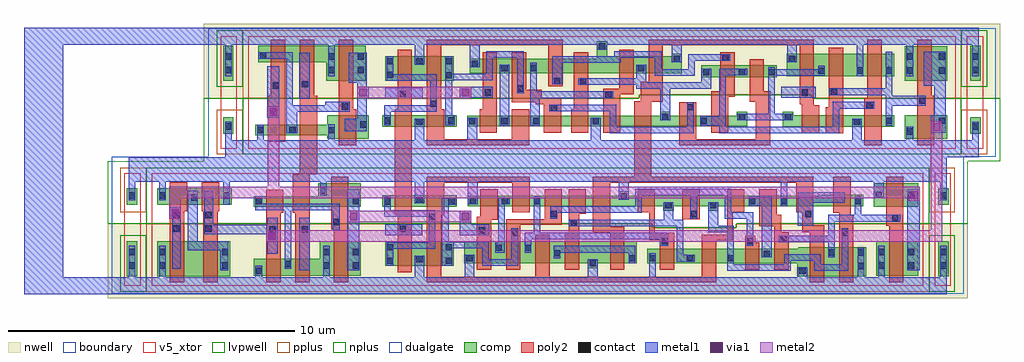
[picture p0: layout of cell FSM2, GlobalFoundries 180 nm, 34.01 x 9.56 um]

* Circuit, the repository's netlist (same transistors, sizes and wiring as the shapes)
* Extracted by KLayout with GF180MCU LVS runset on : 11/08/2026 02:57

.SUBCKT FSM2
M$1 \$4 A1|A2|Q VDD VDD pfet_05v0 L=0.5U W=0.6U AS=0.264P AD=0.156P PS=2.08U
+ PD=1.12U
M$2 VDD MODE \$4 VDD pfet_05v0 L=0.5U W=0.6U AS=0.156P AD=0.40575P PS=1.12U
+ PD=2.055U
M$3 \$5 \$4 VDD VDD pfet_05v0 L=0.5U W=1.215U AS=0.40575P AD=0.5346P PS=2.055U
+ PD=3.31U
M$4 \$16 \$15 VDD VDD pfet_05v0 L=0.5U W=0.505U AS=0.2222P AD=0.2424P PS=1.89U
+ PD=1.465U
M$5 \$9 \$6 \$16 VDD pfet_05v0 L=0.5U W=0.505U AS=0.2424P AD=0.2537625P
+ PS=1.465U PD=1.51U
M$6 \$17 \$7 \$9 VDD pfet_05v0 L=0.5U W=0.505U AS=0.2537625P AD=0.1313P
+ PS=1.51U PD=1.025U
M$7 \$17 \$18 VDD VDD pfet_05v0 L=0.5U W=0.505U AS=0.29465P AD=0.1313P PS=1.74U
+ PD=1.025U
M$8 \$18 RN|SETN VDD VDD pfet_05v0 L=0.5U W=1U AS=0.29465P AD=0.26P PS=1.74U
+ PD=1.52U
M$9 VDD \$9 \$18 VDD pfet_05v0 L=0.5U W=1U AS=0.26P AD=0.44P PS=1.52U PD=2.88U
M$10 \$22 A1|Q|REC_EN VDD VDD pfet_05v0 L=0.5U W=1.22U AS=0.5368P AD=0.4087P
+ PS=3.32U PD=1.89U
M$11 TREAT_EN A1|A2|Q \$22 VDD pfet_05v0 L=0.5U W=1.22U AS=0.4087P AD=0.5368P
+ PS=1.89U PD=3.32U
M$12 VDD CLK \$6 VDD pfet_05v0 L=0.5U W=0.865U AS=0.3806P AD=0.2249P PS=2.61U
+ PD=1.385U
M$13 \$7 \$6 VDD VDD pfet_05v0 L=0.5U W=0.865U AS=0.2249P AD=0.3806P PS=1.385U
+ PD=2.61U
M$14 \$14 \$5 VDD VDD pfet_05v0 L=0.5U W=0.78U AS=0.3432P AD=0.2028P PS=2.44U
+ PD=1.3U
M$15 \$15 \$7 \$14 VDD pfet_05v0 L=0.5U W=0.78U AS=0.2028P AD=0.2028P PS=1.3U
+ PD=1.3U
M$16 \$8 \$6 \$15 VDD pfet_05v0 L=0.5U W=0.78U AS=0.2028P AD=0.2028P PS=1.3U
+ PD=1.3U
M$17 \$8 \$16 VDD VDD pfet_05v0 L=0.5U W=0.78U AS=0.45P AD=0.2028P PS=2.02U
+ PD=1.3U
M$18 \$8 RN|SETN VDD VDD pfet_05v0 L=0.5U W=0.78U AS=0.45P AD=0.3432P PS=2.02U
+ PD=2.44U
M$19 A1|Q|REC_EN \$18 VDD VDD pfet_05v0 L=0.5U W=1.215U AS=0.5346P AD=0.637875P
+ PS=3.31U PD=3.48U
M$20 \$42 \$45 \$49 VDD pfet_05v0 L=0.5U W=0.415U AS=0.27805P AD=0.1079P
+ PS=2.17U PD=0.935U
M$21 \$50 \$47 \$42 VDD pfet_05v0 L=0.5U W=0.415U AS=0.1079P AD=0.1826P
+ PS=0.935U PD=1.71U
M$22 \$46 \$44 VDD VDD pfet_05v0 L=0.5U W=0.505U AS=0.22725P AD=0.1313P
+ PS=1.91U PD=1.025U
M$23 \$48 \$47 \$46 VDD pfet_05v0 L=0.5U W=0.505U AS=0.1313P AD=0.1931625P
+ PS=1.025U PD=1.27U
M$24 \$66 \$45 \$48 VDD pfet_05v0 L=0.5U W=0.505U AS=0.1931625P AD=0.101P
+ PS=1.27U PD=0.905U
M$25 VDD \$49 \$66 VDD pfet_05v0 L=0.5U W=0.505U AS=0.101P AD=0.3975P PS=0.905U
+ PD=2.185U
M$26 \$49 \$48 VDD VDD pfet_05v0 L=0.5U W=0.585U AS=0.3975P AD=0.1521P
+ PS=2.185U PD=1.105U
M$27 VDD RN|SETN \$49 VDD pfet_05v0 L=0.5U W=0.585U AS=0.1521P AD=0.4149P
+ PS=1.105U PD=2.65U
M$28 VDD CLK \$45 VDD pfet_05v0 L=0.5U W=0.865U AS=0.3806P AD=0.2249P PS=2.61U
+ PD=1.385U
M$29 \$47 \$45 VDD VDD pfet_05v0 L=0.5U W=0.865U AS=0.2249P AD=0.3806P
+ PS=1.385U PD=2.61U
M$30 \$50 RN|SETN VDD VDD pfet_05v0 L=0.5U W=0.78U AS=0.3432P AD=0.2028P
+ PS=2.44U PD=1.3U
M$31 VDD \$51 \$50 VDD pfet_05v0 L=0.5U W=0.78U AS=0.2028P AD=0.3276P PS=1.3U
+ PD=1.62U
M$32 \$51 \$42 VDD VDD pfet_05v0 L=0.5U W=0.78U AS=0.3276P AD=0.3432P PS=1.62U
+ PD=2.44U
M$33 A1|A2|Q \$51 VDD VDD pfet_05v0 L=0.5U W=1.215U AS=0.5346P AD=0.6561P
+ PS=3.31U PD=3.51U
M$34 \$63 A1|Q|REC_EN \$43 VDD pfet_05v0 L=0.5U W=0.565U AS=0.2486P AD=0.1469P
+ PS=2.01U PD=1.085U
M$35 \$63 MODE VDD VDD pfet_05v0 L=0.5U W=0.565U AS=0.38705P AD=0.1469P
+ PS=2.08U PD=1.085U
M$36 \$44 \$43 VDD VDD pfet_05v0 L=0.5U W=1.22U AS=0.38705P AD=0.5368P PS=2.08U
+ PD=3.32U
M$37 \$35 A1|A2|Q \$4 VSS nfet_05v0 L=0.6U W=0.365U AS=0.1606P AD=0.0584P
+ PS=1.61U PD=0.685U
M$38 VSS MODE \$35 VSS nfet_05v0 L=0.6U W=0.365U AS=0.0584P AD=0.23405P
+ PS=0.685U PD=1.555U
M$39 \$5 \$4 VSS VSS nfet_05v0 L=0.6U W=0.815U AS=0.23405P AD=0.3586P PS=1.555U
+ PD=2.51U
M$40 \$14 \$5 VSS VSS nfet_05v0 L=0.6U W=0.36U AS=0.1584P AD=0.0936P PS=1.6U
+ PD=0.88U
M$41 \$15 \$6 \$14 VSS nfet_05v0 L=0.6U W=0.36U AS=0.0936P AD=0.0936P PS=0.88U
+ PD=0.88U
M$42 \$38 \$7 \$15 VSS nfet_05v0 L=0.6U W=0.36U AS=0.0936P AD=0.0432P PS=0.88U
+ PD=0.6U
M$43 \$39 \$16 \$38 VSS nfet_05v0 L=0.6U W=0.36U AS=0.0432P AD=0.0432P PS=0.6U
+ PD=0.6U
M$44 VSS RN|SETN \$39 VSS nfet_05v0 L=0.6U W=0.36U AS=0.0432P AD=0.2016P
+ PS=0.6U PD=1.48U
M$45 VSS \$15 \$16 VSS nfet_05v0 L=0.6U W=0.36U AS=0.2007P AD=0.2016P PS=1.475U
+ PD=1.48U
M$46 \$9 \$7 \$16 VSS nfet_05v0 L=0.6U W=0.36U AS=0.2007P AD=0.2007P PS=1.475U
+ PD=1.475U
M$47 \$17 \$6 \$9 VSS nfet_05v0 L=0.6U W=0.36U AS=0.2007P AD=0.0945P PS=1.475U
+ PD=0.885U
M$48 VSS \$18 \$17 VSS nfet_05v0 L=0.6U W=0.36U AS=0.0945P AD=0.1224P PS=0.885U
+ PD=1.04U
M$49 \$41 RN|SETN VSS VSS nfet_05v0 L=0.6U W=0.36U AS=0.1224P AD=0.134P
+ PS=1.04U PD=1.1U
M$50 \$18 \$9 \$41 VSS nfet_05v0 L=0.6U W=0.4U AS=0.134P AD=0.176P PS=1.1U
+ PD=1.68U
M$51 VSS CLK \$6 VSS nfet_05v0 L=0.6U W=0.405U AS=0.1782P AD=0.1053P PS=1.69U
+ PD=0.925U
M$52 \$7 \$6 VSS VSS nfet_05v0 L=0.6U W=0.405U AS=0.1053P AD=0.1782P PS=0.925U
+ PD=1.69U
M$53 TREAT_EN A1|Q|REC_EN VSS VSS nfet_05v0 L=0.6U W=0.565U AS=0.2486P
+ AD=0.1469P PS=2.01U PD=1.085U
M$54 VSS A1|A2|Q TREAT_EN VSS nfet_05v0 L=0.6U W=0.565U AS=0.1469P AD=0.2486P
+ PS=1.085U PD=2.01U
M$55 A1|Q|REC_EN \$18 VSS VSS nfet_05v0 L=0.6U W=0.815U AS=0.3586P AD=0.427875P
+ PS=2.51U PD=2.68U
M$56 \$43 A1|Q|REC_EN VSS VSS nfet_05v0 L=0.6U W=0.36U AS=0.1584P AD=0.0936P
+ PS=1.6U PD=0.88U
M$57 \$43 MODE VSS VSS nfet_05v0 L=0.6U W=0.36U AS=0.2288P AD=0.0936P PS=1.58U
+ PD=0.88U
M$58 \$44 \$43 VSS VSS nfet_05v0 L=0.6U W=0.82U AS=0.2288P AD=0.3608P PS=1.58U
+ PD=2.52U
M$59 \$46 \$44 VSS VSS nfet_05v0 L=0.6U W=0.36U AS=0.1584P AD=0.0936P PS=1.6U
+ PD=0.88U
M$60 \$48 \$45 \$46 VSS nfet_05v0 L=0.6U W=0.36U AS=0.0936P AD=0.0936P PS=0.88U
+ PD=0.88U
M$61 \$61 \$47 \$48 VSS nfet_05v0 L=0.6U W=0.36U AS=0.0936P AD=0.0621P PS=0.88U
+ PD=0.705U
M$62 VSS \$49 \$61 VSS nfet_05v0 L=0.6U W=0.36U AS=0.0621P AD=0.0936P PS=0.705U
+ PD=0.88U
M$63 \$59 \$48 VSS VSS nfet_05v0 L=0.6U W=0.36U AS=0.0936P AD=0.0864P PS=0.88U
+ PD=0.84U
M$64 \$49 RN|SETN \$59 VSS nfet_05v0 L=0.6U W=0.36U AS=0.0864P AD=0.1989P
+ PS=0.84U PD=1.465U
M$65 \$42 \$47 \$49 VSS nfet_05v0 L=0.6U W=0.36U AS=0.1989P AD=0.0936P
+ PS=1.465U PD=0.88U
M$66 \$50 \$45 \$42 VSS nfet_05v0 L=0.6U W=0.36U AS=0.0936P AD=0.2898P PS=0.88U
+ PD=2.33U
M$67 VSS CLK \$45 VSS nfet_05v0 L=0.6U W=0.405U AS=0.1782P AD=0.1053P PS=1.69U
+ PD=0.925U
M$68 \$47 \$45 VSS VSS nfet_05v0 L=0.6U W=0.405U AS=0.1053P AD=0.1782P
+ PS=0.925U PD=1.69U
M$69 \$58 RN|SETN \$50 VSS nfet_05v0 L=0.6U W=0.405U AS=0.3123P AD=0.0486P
+ PS=2.38U PD=0.645U
M$70 VSS \$51 \$58 VSS nfet_05v0 L=0.6U W=0.405U AS=0.0486P AD=0.14985P
+ PS=0.645U PD=1.145U
M$71 \$51 \$42 VSS VSS nfet_05v0 L=0.6U W=0.405U AS=0.14985P AD=0.1782P
+ PS=1.145U PD=1.69U
M$72 A1|A2|Q \$51 VSS VSS nfet_05v0 L=0.6U W=0.815U AS=0.3586P AD=0.3586P
+ PS=2.51U PD=2.51U
.ENDS FSM2

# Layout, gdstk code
from math import pi, radians
import gdstk
lib = gdstk.Library(unit=1e-6, precision=1e-09)
def R(c, l, rs):  # rectangles x0, y0, x1, y1
    for r in rs: c.add(gdstk.rectangle(r[:2], r[2:], *l))
def A(c, l, x, y, w, h, nx, ny, dx, dy):  # array of equal rectangles
    R(c, l, [(x+i*dx, y+j*dy, x+i*dx+w, y+j*dy+h) for i in range(nx) for j in range(ny)])
def P(c, l, *ps):  # polygons
    for p in ps: c.add(gdstk.Polygon(p, *l))
boundary = (0, 0)
nwell = (21, 0)
comp = (22, 0)
poly2 = (30, 0)
pplus = (31, 0)
nplus = (32, 0)
contact = (33, 0)
metal1 = (34, 0)
via1 = (35, 0)
metal2 = (36, 0)
dualgate = (55, 0)
v5_xtor = (112, 1)
lvpwell = (204, 0)

and2 = lib.new_cell('and2')
R(and2, boundary, [(16.65,1.915,21.13,5.835)])
R(and2, nwell, [(16.22,1.485,21.56,4.075)])
P(and2, comp, [(16.83,4.675),(16.83,5.04),(19.09,5.04),(19.09,5.49),(20.57,5.49),(20.57,4.675)],
  [(16.83,2.26),(16.83,2.86),(19.13,2.86),(19.13,3.475),(20.57,3.475),(20.57,2.26)])
P(and2, poly2, [(17.27,2.035),(17.27,5.26),(17.87,5.26),(17.87,4.455),(17.77,4.455),(17.77,2.035)],
  [(18.29,2.035),(18.29,4.455),(18.19,4.455),(18.19,5.26),(18.79,5.26),(18.79,2.035)],
  [(19.63,2.035),(19.63,3.89),(19.53,3.89),(19.53,5.715),(20.13,5.715),(20.13,2.035)])
R(and2, pplus, [(16.45,1.715,21.33,4.075)])
R(and2, nplus, [(16.45,4.075,21.33,6.035)])
R(and2, contact, [(16.9,2.33,17.12,2.55), (19.26,2.515,19.48,2.735), (20.28,2.515,20.5,2.735), (17.92,2.57,18.14,2.79), (19.26,2.985,19.48,3.205), (20.28,2.985,20.5,3.205), (17.38,3.765,17.6,3.985), (18.5,3.765,18.72,3.985), (19.6,4.03,19.82,4.25), (16.9,4.75,17.12,4.97), (20.28,4.75,20.5,4.97), (19.16,5.13,19.38,5.35)])
R(and2, metal1, [(20.1,2.455,20.52,5.28), (18.43,2.465,18.79,4.295), (17.31,3.025,17.67,4.295)])
P(and2, metal1, [(19.155,5.07),(19.155,5.535),(16.65,5.535),(16.65,6.395),(21.13,6.395),(21.13,5.535),(19.385,5.535),(19.385,5.07)],
  [(17.915,2.51),(17.915,4.545),(16.895,4.545),(16.895,5.03),(17.125,5.03),(17.125,4.78),(19.825,4.78),(19.825,3.85),(19.595,3.85),(19.595,4.545),(18.145,4.545),(18.145,2.51)],
  [(16.65,1.615),(16.65,2.215),(16.895,2.215),(16.895,2.61),(17.125,2.61),(17.125,2.215),(19.255,2.215),(19.255,3.305),(19.485,3.305),(19.485,2.215),(21.13,2.215),(21.13,1.615)])
R(and2, dualgate, [(16.37,1.635,21.41,6.415)])
R(and2, v5_xtor, [(16.65,1.915,21.13,5.835)])
R(and2, lvpwell, [(16.22,4.075,21.56,6.265)])
and2.add(gdstk.Label('& Vendor GLOBALFOUNDRIES', (16.65,3.835), layer=63, texttype=63))
and2.add(gdstk.Label('& Product GF018hv5v_mcu_sc7', (16.65,4.335), layer=63, texttype=63))
and2.add(gdstk.Label('& Version 2015q2v1', (16.65,4.835), layer=63, texttype=63))
and2.add(gdstk.Label('& Metric 1.00', (16.65,5.335), layer=63, texttype=63))
and2.add(gdstk.Label('A1', (17.49,3.875), layer=34, texttype=10))
and2.add(gdstk.Label('VNW', (16.995,1.915), layer=21, texttype=10))
and2.add(gdstk.Label('VPW', (16.99,5.92), layer=204, texttype=10))

dffrnq = lib.new_cell('dffrnq')
R(dffrnq, boundary, [(0.01,-11.29,19.05,-7.37)])
P(dffrnq, nwell, [(-0.42,-11.72),(-0.42,-9.13),(9.61,-9.13),(9.61,-9.265),(12.525,-9.265),(12.525,-9.13),(19.48,-9.13),(19.48,-11.72)])
R(dffrnq, comp, [(17.415,-10.945,18.88,-9.73), (0.29,-10.595,2.69,-9.73), (0.19,-8.53,2.79,-8.125), (17.315,-8.53,18.88,-7.715)])
P(dffrnq, comp, [(14.655,-10.95),(14.655,-10.51),(9.43,-10.51),(9.43,-10.005),(14.695,-10.005),(14.695,-9.95),(17.055,-9.95),(17.055,-10.95)],
  [(9.99,-8.665),(9.99,-8.51),(3.17,-8.51),(3.17,-8.15),(8.43,-8.15),(8.43,-7.99),(8.79,-7.99),(8.79,-8.15),(15.515,-8.15),(15.515,-8.11),(16.955,-8.11),(16.955,-8.51),(11.91,-8.51),(11.91,-8.665),(11.55,-8.665),(11.55,-8.51),(10.35,-8.51),(10.35,-8.665)],
  [(7.35,-10.67),(7.35,-10.51),(3.05,-10.51),(3.05,-9.73),(9.07,-9.73),(9.07,-10.51),(7.71,-10.51),(7.71,-10.67)])
R(dffrnq, poly2, [(10.65,-8.97,11.25,-7.93)])
P(dffrnq, poly2, [(17.855,-11.17),(17.855,-9.19),(17.755,-9.19),(17.755,-7.49),(18.355,-7.49),(18.355,-11.17)],
  [(16.115,-11.17),(16.115,-8.75),(15.915,-8.75),(15.915,-7.49),(16.515,-7.49),(16.515,-8.83),(16.615,-8.83),(16.615,-11.17)],
  [(15.095,-11.17),(15.095,-9.43),(14.835,-9.43),(14.835,-8.73),(14.615,-8.73),(14.615,-7.69),(8.13,-7.69),(8.13,-9.23),(8.63,-9.23),(8.63,-10.73),(8.13,-10.73),(8.13,-9.43),(7.53,-9.43),(7.53,-7.49),(15.215,-7.49),(15.215,-9.175),(15.595,-9.175),(15.595,-11.17)],
  [(13.855,-10.73),(13.855,-9.21),(13.335,-9.21),(13.335,-7.93),(13.935,-7.93),(13.935,-8.81),(14.095,-8.81),(14.095,-9.43),(14.355,-9.43),(14.355,-10.73)],
  [(12.835,-10.73),(12.835,-9.545),(13.195,-9.545),(13.195,-9.785),(13.335,-9.785),(13.335,-10.73)],
  [(1.75,-11.17),(1.75,-7.49),(5.33,-7.49),(5.33,-8.73),(4.73,-8.73),(4.73,-7.69),(2.35,-7.69),(2.35,-8.81),(2.25,-8.81),(2.25,-10.97),(5.53,-10.97),(5.53,-9.51),(6.03,-9.51),(6.03,-10.97),(11.33,-10.97),(11.33,-9.505),(12.21,-9.505),(12.21,-7.93),(12.81,-7.93),(12.81,-8.73),(12.41,-8.73),(12.41,-9.705),(11.83,-9.705),(11.83,-11.17)],
  [(9.87,-10.73),(9.87,-9.705),(9.49,-9.705),(9.49,-8.73),(9.09,-8.73),(9.09,-7.93),(9.69,-7.93),(9.69,-9.44),(10.37,-9.44),(10.37,-10.73)],
  [(6.55,-10.73),(6.55,-9.485),(6.69,-9.485),(6.69,-7.93),(7.29,-7.93),(7.29,-8.77),(7.05,-8.77),(7.05,-10.73)],
  [(4.51,-10.73),(4.51,-8.97),(5.85,-8.97),(5.85,-7.93),(6.45,-7.93),(6.45,-9.17),(5.01,-9.17),(5.01,-10.73)],
  [(3.49,-10.73),(3.49,-8.88),(3.61,-8.88),(3.61,-7.93),(4.21,-7.93),(4.21,-8.98),(3.99,-8.98),(3.99,-10.73)],
  [(0.73,-10.82),(0.73,-8.81),(0.63,-8.81),(0.63,-7.905),(1.23,-7.905),(1.23,-10.82)])
P(dffrnq, pplus, [(-0.19,-11.49),(-0.19,-9.13),(9.61,-9.13),(9.61,-9.265),(12.525,-9.265),(12.525,-9.13),(19.25,-9.13),(19.25,-11.49)])
P(dffrnq, nplus, [(9.61,-9.265),(9.61,-9.13),(-0.19,-9.13),(-0.19,-7.17),(19.25,-7.17),(19.25,-9.13),(12.525,-9.13),(12.525,-9.265)])
A(dffrnq, contact, 3.24, -8.44, 0.22, 0.22, 3, 1, 1.12, 0)
R(dffrnq, contact, [(14.725,-10.875,14.945,-10.655), (16.765,-10.71,16.985,-10.49), (17.485,-10.69,17.705,-10.47), (18.505,-10.69,18.725,-10.47), (7.42,-10.6,7.64,-10.38), (0.36,-10.525,0.58,-10.305), (2.4,-10.525,2.62,-10.305), (1.38,-10.46,1.6,-10.24), (3.12,-10.44,3.34,-10.22), (8.78,-10.44,9,-10.22), (9.5,-10.44,9.72,-10.22), (10.81,-10.44,11.03,-10.22), (12.225,-10.44,12.445,-10.22), (13.485,-10.295,13.705,-10.075), (6.18,-10.265,6.4,-10.045), (15.745,-10.24,15.965,-10.02), (16.765,-10.24,16.985,-10.02), (17.485,-10.22,17.705,-10), (18.505,-10.22,18.725,-10), (4.14,-10.07,4.36,-9.85), (5.16,-10.07,5.38,-9.85), (0.36,-10.055,0.58,-9.835), (2.4,-10.055,2.62,-9.835), (9.94,-9.835,10.16,-9.615), (12.905,-9.835,13.125,-9.615), (14.065,-9.77,14.285,-9.55), (4.7,-9.56,4.92,-9.34), (16.205,-9.56,16.425,-9.34), (3.56,-9.475,3.78,-9.255), (0.8,-9.425,1.02,-9.205), (6.76,-9.205,6.98,-8.985), (17.96,-9.045,18.18,-8.825), (1.82,-8.995,2.04,-8.775), (6.06,-8.9,6.28,-8.68), (10.94,-8.9,11.16,-8.68), (14.925,-8.9,15.145,-8.68), (10.06,-8.595,10.28,-8.375), (11.62,-8.595,11.84,-8.375), (0.26,-8.46,0.48,-8.24), (2.5,-8.46,2.72,-8.24), (12.965,-8.44,13.185,-8.22), (14.085,-8.44,14.305,-8.22), (16.665,-8.44,16.885,-8.22), (1.38,-8.415,1.6,-8.195), (8.5,-8.28,8.72,-8.06), (17.385,-8.24,17.605,-8.02), (18.505,-8.24,18.725,-8.02)])
R(dffrnq, metal1, [(18.485,-10.75,18.92,-7.92), (0.29,-9.52,1.58,-9.14), (2.9,-9.52,3.93,-9.14)])
P(dffrnq, metal1, [(14.08,-8.5),(14.08,-7.67),(8.78,-7.67),(8.78,-8.285),(8.44,-8.285),(8.44,-7.67),(3.52,-7.67),(3.52,-8.445),(3.18,-8.445),(3.18,-7.67),(1.665,-7.67),(1.665,-8.42),(1.32,-8.42),(1.32,-7.67),(0.01,-7.67),(0.01,-6.81),(19.05,-6.81),(19.05,-7.67),(17.665,-7.67),(17.665,-8.245),(17.325,-8.245),(17.325,-7.67),(14.31,-7.67),(14.31,-8.5)],
  [(0.01,-11.59),(0.01,-10.99),(1.32,-10.99),(1.32,-10.235),(1.66,-10.235),(1.66,-10.99),(3.06,-10.99),(3.06,-10.215),(3.4,-10.215),(3.4,-10.99),(7.36,-10.99),(7.36,-10.36),(7.7,-10.36),(7.7,-10.99),(9.495,-10.99),(9.495,-10.16),(9.725,-10.16),(9.725,-10.99),(14.665,-10.99),(14.665,-10.65),(15.005,-10.65),(15.005,-10.99),(16.76,-10.99),(16.76,-9.96),(16.99,-9.96),(16.99,-10.99),(17.48,-10.99),(17.48,-9.9),(17.71,-9.9),(17.71,-10.99),(19.05,-10.99),(19.05,-11.59)],
  [(15.74,-10.3),(15.74,-9.775),(14.005,-9.775),(14.005,-9.545),(15.74,-9.545),(15.74,-8.82),(16.66,-8.82),(16.66,-8.16),(16.89,-8.16),(16.89,-8.82),(18.24,-8.82),(18.24,-9.05),(15.97,-9.05),(15.97,-10.3)],
  [(12.22,-10.76),(12.22,-9.42),(11.56,-9.42),(11.56,-8.37),(11.9,-8.37),(11.9,-9.19),(12.45,-9.19),(12.45,-10.53),(14.205,-10.53),(14.205,-10.19),(15.475,-10.19),(15.475,-10.53),(16.2,-10.53),(16.2,-9.28),(16.43,-9.28),(16.43,-10.76),(15.245,-10.76),(15.245,-10.42),(14.435,-10.42),(14.435,-10.76)],
  [(14.67,-9.2),(14.67,-8.03),(16.305,-8.03),(16.305,-8.39),(15.215,-8.39),(15.215,-9.2)],
  [(13.425,-10.3),(13.425,-8.5),(12.96,-8.5),(12.96,-8.16),(13.765,-8.16),(13.765,-10.3)],
  [(12.9,-9.895),(12.9,-8.96),(12.13,-8.96),(12.13,-8.13),(11.165,-8.13),(11.165,-8.96),(10.935,-8.96),(10.935,-8.13),(9.24,-8.13),(9.24,-8.75),(6.285,-8.75),(6.285,-8.96),(6.055,-8.96),(6.055,-8.52),(9.01,-8.52),(9.01,-7.9),(12.36,-7.9),(12.36,-8.73),(13.13,-8.73),(13.13,-9.895)],
  [(10.45,-10.445),(10.45,-9.21),(6.7,-9.21),(6.7,-8.98),(10,-8.98),(10,-8.37),(10.34,-8.37),(10.34,-8.98),(10.68,-8.98),(10.68,-10.215),(11.09,-10.215),(11.09,-10.445)],
  [(5.155,-10.13),(5.155,-9.44),(5.475,-9.44),(5.475,-8.16),(5.705,-8.16),(5.705,-9.44),(10.165,-9.44),(10.165,-9.895),(9.865,-9.895),(9.865,-9.67),(5.385,-9.67),(5.385,-10.13)],
  [(8.775,-10.5),(8.775,-10.13),(6.405,-10.13),(6.405,-10.325),(6.175,-10.325),(6.175,-9.9),(9.005,-9.9),(9.005,-10.5)],
  [(3.675,-10.59),(3.675,-9.985),(2.625,-9.985),(2.625,-10.585),(2.275,-10.585),(2.275,-8.235),(2.78,-8.235),(2.78,-8.465),(2.505,-8.465),(2.505,-9.755),(3.905,-9.755),(3.905,-10.36),(4.695,-10.36),(4.695,-9.28),(4.925,-9.28),(4.925,-10.59)],
  [(4.135,-10.13),(4.135,-9.79),(4.235,-9.79),(4.235,-8.215),(4.64,-8.215),(4.64,-8.445),(4.465,-8.445),(4.465,-10.13)],
  [(0.355,-10.595),(0.355,-9.775),(1.815,-9.775),(1.815,-8.88),(0.255,-8.88),(0.255,-8.18),(0.485,-8.18),(0.485,-8.65),(2.045,-8.65),(2.045,-10.005),(0.585,-10.005),(0.585,-10.595)])
R(dffrnq, dualgate, [(-0.27,-11.57,19.33,-6.79)])
R(dffrnq, v5_xtor, [(0.01,-11.29,19.05,-7.37)])
P(dffrnq, lvpwell, [(9.61,-9.265),(9.61,-9.13),(-0.42,-9.13),(-0.42,-6.94),(19.48,-6.94),(19.48,-9.13),(12.525,-9.13),(12.525,-9.265)])
dffrnq.add(gdstk.Label('& Metric 1.00', (0.01,-7.87), layer=63, texttype=63))
dffrnq.add(gdstk.Label('& Version 2015q2v1', (0.01,-8.37), layer=63, texttype=63))
dffrnq.add(gdstk.Label('& Product GF018hv5v_mcu_sc7', (0.01,-8.87), layer=63, texttype=63))
dffrnq.add(gdstk.Label('& Vendor GLOBALFOUNDRIES', (0.01,-9.37), layer=63, texttype=63))
dffrnq.add(gdstk.Label('RN', (15.41,-8.21), layer=34, texttype=10))
dffrnq.add(gdstk.Label('Q', (18.77,-9.33), layer=34, texttype=10))
dffrnq.add(gdstk.Label('CLK', (0.85,-9.33), layer=34, texttype=10))
dffrnq.add(gdstk.Label('VNW', (0.355,-11.29), layer=21, texttype=10))
dffrnq.add(gdstk.Label('VPW', (0.35,-7.285), layer=204, texttype=10))

dffsnq = lib.new_cell('dffsnq')
R(dffsnq, boundary, [(0.695,0.63,20.855,4.55)])
P(dffsnq, nwell, [(0.265,2.39),(0.265,4.98),(21.285,4.98),(21.285,2.39),(15.86,2.39),(15.86,2.515),(9.83,2.515),(9.83,2.39)])
R(dffsnq, comp, [(19.08,0.975,20.56,1.79), (0.875,1.385,3.475,1.79), (0.975,2.99,3.375,3.855), (19.08,2.99,20.56,4.205), (11.99,3.115,14.62,3.53), (14.98,3.15,18.72,3.93)])
P(dffsnq, comp, [(14.84,1.385),(14.84,1.915),(15.2,1.915),(15.2,1.79),(18.72,1.79),(18.72,1.385)],
  [(3.835,1.41),(3.835,1.77),(10.56,1.77),(10.56,1.915),(10.92,1.915),(10.92,1.77),(13.24,1.77),(13.24,1.915),(13.6,1.915),(13.6,1.41)],
  [(3.925,3.265),(3.925,3.77),(8.36,3.77),(8.36,4.37),(8.72,4.37),(8.72,3.85),(10.96,3.85),(10.96,3.93),(11.32,3.93),(11.32,3.265)])
P(dffsnq, poly2, [(19.52,0.75),(19.52,4.43),(20.02,4.43),(20.02,2.48),(20.12,2.48),(20.12,0.75)],
  [(17.68,0.75),(17.68,2.385),(17.78,2.385),(17.78,4.43),(18.28,4.43),(18.28,0.75)],
  [(16.34,1.165),(16.34,2.07),(16.44,2.07),(16.44,4.15),(16.94,4.15),(16.94,1.165)],
  [(15.5,1.165),(15.5,2.185),(15.42,2.185),(15.42,4.23),(10.66,4.23),(10.66,2.265),(10.26,2.265),(10.26,1.19),(9.66,1.19),(9.66,2.285),(9.88,2.285),(9.88,2.965),(10.16,2.965),(10.16,4.43),(15.92,4.43),(15.92,2.135),(16.1,2.135),(16.1,1.165)],
  [(11.22,0.75),(11.22,2.25),(11.82,2.25),(11.82,0.95),(13.9,0.95),(13.9,2.265),(13.68,2.265),(13.68,3.75),(14.18,3.75),(14.18,2.635),(14.4,2.635),(14.4,0.75)],
  [(12.34,1.19),(12.34,2.635),(12.66,2.635),(12.66,3.99),(13.16,3.99),(13.16,2.435),(12.94,2.435),(12.94,1.19)],
  [(8.58,1.19),(8.58,2.725),(9.14,2.725),(9.14,4.07),(9.64,4.07),(9.64,2.525),(9.18,2.525),(9.18,1.19)],
  [(7.46,1.19),(7.46,2.01),(7.56,2.01),(7.56,3.99),(8.06,3.99),(8.06,1.19)],
  [(2.435,0.75),(2.435,4.43),(7.16,4.43),(7.16,2.805),(6.66,2.805),(6.66,4.23),(2.935,4.23),(2.935,2.01),(3.035,2.01),(3.035,0.95),(5.395,0.95),(5.395,2.01),(5.995,2.01),(5.995,0.75)],
  [(6.515,1.19),(6.515,2.185),(6.23,2.185),(6.23,2.25),(5.395,2.25),(5.395,3.99),(5.895,3.99),(5.895,2.68),(6.43,2.68),(6.43,2.385),(7.115,2.385),(7.115,1.19)],
  [(4.275,1.19),(4.275,2.01),(4.375,2.01),(4.375,3.99),(4.875,3.99),(4.875,1.19)],
  [(1.315,1.165),(1.315,2.01),(1.415,2.01),(1.415,4.08),(1.915,4.08),(1.915,1.165)])
P(dffsnq, pplus, [(0.495,2.39),(0.495,4.75),(21.055,4.75),(21.055,2.39),(15.86,2.39),(15.86,2.515),(9.83,2.515),(9.83,2.39)])
P(dffsnq, nplus, [(0.495,0.43),(0.495,2.39),(9.83,2.39),(9.83,2.515),(15.86,2.515),(15.86,2.39),(21.055,2.39),(21.055,0.43)])
A(dffsnq, contact, 3.905, 1.48, 0.22, 0.22, 3, 1, 1.12, 0)
A(dffsnq, contact, 1.045, 3.565, 0.22, 0.22, 3, 1, 1.02, 0)
R(dffsnq, contact, [(19.15,1.115,19.37,1.335), (2.065,1.455,2.285,1.675), (17.31,1.455,17.53,1.675), (8.21,1.48,8.43,1.7), (11.97,1.48,12.19,1.7), (18.43,1.495,18.65,1.715), (20.27,1.495,20.49,1.715), (0.945,1.5,1.165,1.72), (3.185,1.5,3.405,1.72), (10.63,1.625,10.85,1.845), (13.31,1.625,13.53,1.845), (14.91,1.625,15.13,1.845), (6.755,1.94,6.975,2.16), (11.51,1.96,11.73,2.18), (17.75,2.035,17.97,2.255), (2.56,2.085,2.78,2.305), (19.59,2.19,19.81,2.41), (8.65,2.4,8.87,2.62), (1.485,2.435,1.705,2.655), (4.445,2.48,4.665,2.7), (15.49,2.48,15.71,2.7), (16.51,2.5,16.73,2.72), (5.585,2.62,5.805,2.84), (7.77,2.86,7.99,3.08), (6.87,2.875,7.09,3.095), (3.085,3.075,3.305,3.295), (1.045,3.095,1.265,3.315), (12.06,3.185,12.28,3.405), (13.31,3.185,13.53,3.405), (14.33,3.185,14.55,3.405), (16.07,3.235,16.29,3.455), (17.41,3.24,17.63,3.46), (18.43,3.24,18.65,3.46), (19.15,3.24,19.37,3.46), (20.27,3.24,20.49,3.46), (5.025,3.335,5.245,3.555), (6.045,3.335,6.265,3.555), (9.79,3.335,10.01,3.555), (3.995,3.48,4.215,3.7), (11.03,3.64,11.25,3.86), (15.05,3.64,15.27,3.86), (12.73,3.7,12.95,3.92), (19.15,3.73,19.37,3.95), (20.27,3.73,20.49,3.95), (8.43,4.08,8.65,4.3)])
R(dffsnq, metal1, [(4.965,1.42,5.305,3.56), (0.975,2.395,2.285,2.76), (3.585,2.4,4.725,2.78), (14.785,2.4,15.98,2.78)])
P(dffsnq, metal1, [(17.405,3.16),(17.405,4.25),(15.33,4.25),(15.33,3.635),(14.99,3.635),(14.99,4.25),(11.31,4.25),(11.31,3.635),(10.97,3.635),(10.97,4.25),(8.71,4.25),(8.71,4.075),(8.37,4.075),(8.37,4.25),(4.275,4.25),(4.275,3.475),(3.935,3.475),(3.935,4.25),(2.345,4.25),(2.345,3.56),(2.005,3.56),(2.005,4.25),(0.695,4.25),(0.695,4.85),(20.855,4.85),(20.855,4.25),(19.375,4.25),(19.375,3.16),(19.145,3.16),(19.145,4.25),(17.635,4.25),(17.635,3.16)],
  [(0.695,0.33),(0.695,0.93),(2.005,0.93),(2.005,1.68),(2.345,1.68),(2.345,0.93),(3.845,0.93),(3.845,1.705),(4.185,1.705),(4.185,0.93),(8.15,0.93),(8.15,1.705),(8.49,1.705),(8.49,0.93),(17.25,0.93),(17.25,1.68),(17.59,1.68),(17.59,0.93),(19.145,0.93),(19.145,1.395),(19.375,1.395),(19.375,0.93),(20.855,0.93),(20.855,0.33)],
  [(19.995,1.18),(19.995,1.79),(20.12,1.79),(20.12,2.82),(19.74,2.82),(19.74,4.01),(20.51,4.01),(20.51,1.18)],
  [(18.425,1.435),(18.425,2.49),(16.45,2.49),(16.45,2.735),(18.425,2.735),(18.425,4.01),(18.655,4.01),(18.655,2.47),(19.815,2.47),(19.815,2.13),(18.655,2.13),(18.655,1.435)],
  [(12.625,1.16),(12.625,1.42),(11.965,1.42),(11.965,1.76),(12.625,1.76),(12.625,3.41),(13.59,3.41),(13.59,3.18),(12.855,3.18),(12.855,1.39),(16.575,1.39),(16.575,2.26),(18.03,2.26),(18.03,2.025),(16.805,2.025),(16.805,1.16)],
  [(13.25,1.62),(13.25,1.85),(14.325,1.85),(14.325,3.475),(14.555,3.475),(14.555,3.405),(16.065,3.405),(16.065,3.515),(16.295,3.515),(16.295,3.17),(14.555,3.17),(14.555,1.85),(15.19,1.85),(15.19,1.62)],
  [(6.81,2.87),(6.81,3.845),(8.965,3.845),(8.965,4.02),(10.61,4.02),(10.61,3.405),(11.54,3.405),(11.54,3.925),(13.01,3.925),(13.01,3.695),(11.77,3.695),(11.77,3.17),(10.38,3.17),(10.38,3.79),(9.195,3.79),(9.195,3.615),(7.15,3.615),(7.15,2.87)],
  [(10.57,1.62),(10.57,2.71),(9.73,2.71),(9.73,2.855),(7.71,2.855),(7.71,3.085),(9.73,3.085),(9.73,3.56),(10.07,3.56),(10.07,2.94),(12,2.94),(12,3.41),(12.34,3.41),(12.34,2.71),(10.91,2.71),(10.91,1.62)],
  [(8.805,1.16),(8.805,1.935),(6.695,1.935),(6.695,2.165),(9.035,2.165),(9.035,1.39),(11.505,1.39),(11.505,2.245),(11.735,2.245),(11.735,1.16)],
  [(6.04,1.42),(6.04,3.615),(6.27,3.615),(6.27,2.625),(8.93,2.625),(8.93,2.395),(6.37,2.395),(6.37,1.42)],
  [(3.08,1.44),(3.08,3.855),(3.31,3.855),(3.31,3.245),(4.505,3.245),(4.505,4.02),(5.81,4.02),(5.81,2.56),(5.58,2.56),(5.58,3.79),(4.735,3.79),(4.735,3.01),(3.315,3.01),(3.315,1.78),(3.41,1.78),(3.41,1.44)],
  [(0.94,1.44),(0.94,2.14),(2.555,2.14),(2.555,2.99),(1.04,2.99),(1.04,3.855),(1.27,3.855),(1.27,3.225),(2.785,3.225),(2.785,1.91),(1.17,1.91),(1.17,1.44)])
R(dffsnq, dualgate, [(0.415,0.35,21.135,4.83)])
R(dffsnq, v5_xtor, [(0.695,0.63,20.855,4.55)])
P(dffsnq, lvpwell, [(0.265,0.2),(0.265,2.39),(9.83,2.39),(9.83,2.515),(15.86,2.515),(15.86,2.39),(21.285,2.39),(21.285,0.2)])
dffsnq.add(gdstk.Label('& Metric 1.00', (0.695,1.13), layer=63, texttype=63))
dffsnq.add(gdstk.Label('& Version 2015q2v1', (0.695,1.63), layer=63, texttype=63))
dffsnq.add(gdstk.Label('& Product GF018hv5v_mcu_sc7', (0.695,2.13), layer=63, texttype=63))
dffsnq.add(gdstk.Label('& Vendor GLOBALFOUNDRIES', (0.695,2.63), layer=63, texttype=63))
dffsnq.add(gdstk.Label('SETN', (15.535,2.59), layer=34, texttype=10))
dffsnq.add(gdstk.Label('Q', (20.015,3.15), layer=34, texttype=10))
dffsnq.add(gdstk.Label('CLK', (1.535,2.59), layer=34, texttype=10))
dffsnq.add(gdstk.Label('VNW', (1.04,4.55), layer=21, texttype=10))
dffsnq.add(gdstk.Label('VPW', (1.035,0.545), layer=204, texttype=10))

or2 = lib.new_cell('or2')
R(or2, boundary, [(-2.86,-11.28,1.62,-7.36)])
R(or2, nwell, [(-3.29,-9.52,2.05,-6.93)])
P(or2, comp, [(-0.105,-10.94),(-0.105,-10.815),(-2.625,-10.815),(-2.625,-10.455),(-0.105,-10.455),(-0.105,-10.12),(1.335,-10.12),(1.335,-10.94)],
  [(-0.145,-8.92),(-0.145,-8.265),(-2.525,-8.265),(-2.525,-7.7),(1.235,-7.7),(1.235,-8.92)])
P(or2, poly2, [(0.295,-11.16),(0.295,-7.48),(0.795,-7.48),(0.795,-9.9),(0.895,-9.9),(0.895,-11.16)],
  [(-1.065,-11.04),(-1.065,-7.48),(-0.565,-7.48),(-0.565,-9.435),(-0.465,-9.435),(-0.465,-11.04)],
  [(-2.185,-11.04),(-2.185,-9.435),(-2.085,-9.435),(-2.085,-7.48),(-1.585,-7.48),(-1.585,-11.04)])
R(or2, pplus, [(-3.06,-9.52,1.82,-7.16)])
R(or2, nplus, [(-3.06,-11.48,1.82,-9.52)])
R(or2, contact, [(-0.075,-10.75,0.145,-10.53), (-2.555,-10.745,-2.335,-10.525), (-1.435,-10.745,-1.215,-10.525), (1.045,-10.545,1.265,-10.325), (0.395,-9.92,0.615,-9.7), (-2.015,-9.185,-1.795,-8.965), (-0.995,-9.145,-0.775,-8.925), (-0.075,-8.65,0.145,-8.43), (0.945,-8.65,1.165,-8.43), (-0.075,-8.18,0.145,-7.96), (0.945,-8.18,1.165,-7.96), (-2.455,-8.145,-2.235,-7.925)])
R(or2, metal1, [(-2.2,-10.205,-1.78,-8.4), (-1.08,-9.54,-0.72,-7.935)])
P(or2, metal1, [(-0.08,-8.75),(-0.08,-7.66),(-2.86,-7.66),(-2.86,-7.06),(1.62,-7.06),(1.62,-7.66),(0.15,-7.66),(0.15,-8.75)],
  [(-2.86,-11.58),(-2.86,-10.98),(-2.56,-10.98),(-2.56,-10.455),(-2.33,-10.455),(-2.33,-10.98),(-0.08,-10.98),(-0.08,-10.43),(0.15,-10.43),(0.15,-10.98),(1.62,-10.98),(1.62,-11.58)],
  [(0.505,-10.67),(0.505,-10.24),(0.94,-10.24),(0.94,-8.99),(0.64,-8.99),(0.64,-7.935),(1.27,-7.935),(1.27,-10.67)],
  [(-1.55,-10.75),(-1.55,-8.15),(-2.525,-8.15),(-2.525,-7.92),(-1.32,-7.92),(-1.32,-9.77),(-0.18,-9.77),(-0.18,-9.64),(0.675,-9.64),(0.675,-10),(-1.155,-10),(-1.155,-10.75)])
R(or2, dualgate, [(-3.14,-11.56,1.9,-7.08)])
R(or2, v5_xtor, [(-2.86,-11.28,1.62,-7.36)])
R(or2, lvpwell, [(-3.29,-11.71,2.05,-9.52)])
or2.add(gdstk.Label('MODE', (-0.9,-8.76), layer=34, texttype=10))
or2.add(gdstk.Label('A1', (-2.02,-9.32), layer=34, texttype=10))
or2.add(gdstk.Label('VNW', (-2.515,-7.36), layer=21, texttype=10))
or2.add(gdstk.Label('VPW', (-2.52,-11.365), layer=204, texttype=10))

nor2 = lib.new_cell('nor2')
R(nor2, boundary, [(6.33,-9.36,9.69,-5.44)])
R(nor2, nwell, [(5.9,-9.79,10.12,-7.2)])
R(nor2, comp, [(6.51,-9.02,9.06,-7.8), (6.51,-6.53,9.11,-5.965)])
P(nor2, poly2, [(6.95,-9.24),(6.95,-5.745),(7.55,-5.745),(7.55,-6.755),(7.45,-6.755),(7.45,-9.24)],
  [(8.12,-9.24),(8.12,-6.755),(8.07,-6.755),(8.07,-5.745),(8.67,-5.745),(8.67,-6.755),(8.62,-6.755),(8.62,-9.24)])
R(nor2, pplus, [(6.13,-9.56,9.89,-7.2)])
R(nor2, nplus, [(6.13,-7.2,9.89,-5.24)])
R(nor2, contact, [(6.58,-8.76,6.8,-8.54), (8.77,-8.76,8.99,-8.54), (6.58,-8.29,6.8,-8.07), (8.77,-8.29,8.99,-8.07), (7.07,-7.475,7.29,-7.255), (8.19,-7.475,8.41,-7.255), (7.07,-7.005,7.29,-6.785), (8.19,-7.005,8.41,-6.785), (7.7,-6.395,7.92,-6.175), (6.58,-6.325,6.8,-6.105), (8.82,-6.325,9.04,-6.105)])
R(nor2, metal1, [(7.035,-8.76,7.34,-6.62)])
P(nor2, metal1, [(8.155,-7.57),(8.155,-6.04),(8.46,-6.04),(8.46,-7.23),(8.995,-7.23),(8.995,-7.57)],
  [(8.815,-6.53),(8.815,-5.74),(6.805,-5.74),(6.805,-6.385),(6.575,-6.385),(6.575,-5.74),(6.33,-5.74),(6.33,-4.88),(9.69,-4.88),(9.69,-5.74),(9.045,-5.74),(9.045,-6.53)],
  [(6.33,-9.66),(6.33,-9.06),(6.575,-9.06),(6.575,-7.97),(6.805,-7.97),(6.805,-9.06),(9.69,-9.06),(9.69,-9.66)],
  [(8.715,-8.82),(8.715,-8.12),(7.57,-8.12),(7.57,-6.04),(7.925,-6.04),(7.925,-7.8),(8.995,-7.8),(8.995,-8.82)])
R(nor2, dualgate, [(6.05,-9.64,9.97,-4.86)])
R(nor2, v5_xtor, [(6.33,-9.36,9.69,-5.44)])
R(nor2, lvpwell, [(5.9,-7.2,10.12,-5.01)])
nor2.add(gdstk.Label('& Vendor GLOBALFOUNDRIES', (6.33,-7.44), layer=63, texttype=63))
nor2.add(gdstk.Label('& Product GF018hv5v_mcu_sc7', (6.33,-6.94), layer=63, texttype=63))
nor2.add(gdstk.Label('& Version 2015q2v1', (6.33,-6.44), layer=63, texttype=63))
nor2.add(gdstk.Label('& Metric 1.00', (6.33,-5.94), layer=63, texttype=63))
nor2.add(gdstk.Label('REC_EN', (7.19,-7.62), layer=34, texttype=10))
nor2.add(gdstk.Label('TREAT_EN', (8.29,-7.96), layer=34, texttype=10))
nor2.add(gdstk.Label('A2', (8.35,-6.81), layer=34, texttype=10))
nor2.add(gdstk.Label('VSS', (8.07,-5.295), layer=34, texttype=10))
nor2.add(gdstk.Label('VDD', (8.01,-9.365), layer=34, texttype=10))

via_dev = lib.new_cell('via_dev')
R(via_dev, metal1, [(0,0,0.4,0.4)])
R(via_dev, via1, [(0.07,0.07,0.33,0.33)])
R(via_dev, metal2, [(0,0,0.4,0.4)])

tap2 = lib.new_cell('tap2')
R(tap2, boundary, [(0.4,0.43,0.96,4.35)])
R(tap2, nwell, [(0.2,0,1.55,2.59)])
R(tap2, comp, [(0.52,0.77,0.88,1.99), (0.52,3.26,0.88,3.825)])
R(tap2, pplus, [(0.2,2.99,1.1,4.55)])
R(tap2, nplus, [(0.2,0.23,1.1,2.19)])
R(tap2, contact, [(0.59,1.03,0.81,1.25), (0.59,1.5,0.81,1.72), (0.59,3.465,0.81,3.685)])
R(tap2, metal1, [(0,0.13,0.34,0.73), (0,4.05,0.34,4.91)])
P(tap2, metal1, [(0.585,3.405),(0.585,4.05),(0.34,4.05),(0.34,4.91),(0.815,4.91),(0.815,4.05),(0.815,3.405)],
  [(0.34,0.13),(0.34,0.73),(0.585,0.73),(0.585,1.82),(0.815,1.82),(0.815,0.73),(0.815,0.13)])
R(tap2, dualgate, [(0.12,0.15,1.4,4.93)])
R(tap2, v5_xtor, [(0.4,0.43,0.96,4.35)])
R(tap2, lvpwell, [(0.2,2.59,1.55,4.78)])

tap = lib.new_cell('tap')
R(tap, boundary, [(0.59,0.58,1.15,4.5)])
R(tap, nwell, [(0,2.34,1.35,4.93)])
R(tap, comp, [(0.67,1.105,1.03,1.67), (0.67,2.94,1.03,4.16)])
R(tap, pplus, [(0.45,0.38,1.35,1.94)])
R(tap, nplus, [(0.45,2.74,1.35,4.7)])
R(tap, contact, [(0.74,1.245,0.96,1.465), (0.74,3.21,0.96,3.43), (0.74,3.68,0.96,3.9)])
R(tap, metal1, [(1.21,0.28,1.55,0.88), (1.21,4.2,1.55,4.8)])
P(tap, metal1, [(0.735,0.28),(0.735,0.88),(0.735,1.525),(0.965,1.525),(0.965,0.88),(1.21,0.88),(1.21,0.28)],
  [(0.735,3.11),(0.735,4.2),(0.735,4.8),(1.21,4.8),(1.21,4.2),(0.965,4.2),(0.965,3.11)])
R(tap, dualgate, [(0.15,0.3,1.43,4.78)])
R(tap, v5_xtor, [(0.59,0.58,1.15,4.5)])
R(tap, lvpwell, [(0,0.15,1.35,2.34)])
tap.add(gdstk.Label('& Metric 1.00', (1.55,1.08), layer=63, texttype=63))
tap.add(gdstk.Label('& Version 2015q2v1', (1.55,1.58), layer=63, texttype=63))
tap.add(gdstk.Label('& Product GF018hv5v_mcu_sc7', (1.55,2.08), layer=63, texttype=63))
tap.add(gdstk.Label('& Vendor GLOBALFOUNDRIES', (1.55,2.58), layer=63, texttype=63))

fsm2 = lib.new_cell('FSM2')
R(fsm2, boundary, [(8.005,-11.08,8.565,-7.16), (37.365,-6.3,37.925,-2.38), (37.365,-6.3,37.925,-2.38), (37.365,-6.3,37.925,-2.38), (37.365,-6.3,37.925,-2.38)])
R(fsm2, nwell, [(7.415,-11.51,8.765,-8.92), (37.165,-4.54,38.515,-1.95), (37.165,-4.54,38.515,-1.95), (37.165,-4.54,38.515,-1.95), (37.165,-4.54,38.515,-1.95)])
R(fsm2, comp, [(8.085,-10.74,8.445,-9.52), (8.085,-8.25,8.445,-7.685), (37.485,-5.775,37.845,-5.21), (37.485,-5.775,37.845,-5.21), (37.485,-5.775,37.845,-5.21), (37.485,-5.775,37.845,-5.21), (37.485,-3.94,37.845,-2.72), (37.485,-3.94,37.845,-2.72), (37.485,-3.94,37.845,-2.72), (37.485,-3.94,37.845,-2.72)])
R(fsm2, poly2, [(13.865,-7.735,14.465,-7.195), (17.425,-7.695,18.025,-5.765), (25.77,-7.28,26.37,-5.74), (14.12,-7.195,14.72,-6.06)])
R(fsm2, pplus, [(7.865,-8.52,8.765,-6.96), (37.165,-6.5,38.065,-4.94), (37.165,-6.5,38.065,-4.94), (37.165,-6.5,38.065,-4.94), (37.165,-6.5,38.065,-4.94)])
R(fsm2, nplus, [(7.865,-11.28,8.765,-9.32), (37.165,-4.14,38.065,-2.18), (37.165,-4.14,38.065,-2.18), (37.165,-4.14,38.065,-2.18), (37.165,-4.14,38.065,-2.18)])
R(fsm2, contact, [(8.155,-10.48,8.375,-10.26), (8.155,-10.01,8.375,-9.79), (8.155,-8.045,8.375,-7.825), (37.555,-5.635,37.775,-5.415), (37.555,-5.635,37.775,-5.415), (37.555,-5.635,37.775,-5.415), (37.555,-5.635,37.775,-5.415), (37.555,-3.67,37.775,-3.45), (37.555,-3.67,37.775,-3.45), (37.555,-3.67,37.775,-3.45), (37.555,-3.67,37.775,-3.45), (37.555,-3.2,37.775,-2.98), (37.555,-3.2,37.775,-2.98), (37.555,-3.2,37.775,-2.98), (37.555,-3.2,37.775,-2.98)])
R(fsm2, metal1, [(4.505,-11.38,5.865,-2.08), (5.865,-11.38,8.15,-10.78), (8.625,-11.38,8.965,-10.78), (11.63,-9.29,12.985,-8.95), (19.695,-8.93,20.095,-8.865), (8.625,-7.46,8.965,-6.6), (36.965,-6.6,37.305,-6), (5.865,-2.68,11.51,-2.08), (36.965,-2.68,37.305,-2.08), (36.965,-2.68,37.305,-2.08), (36.965,-2.68,37.305,-2.08)])
P(fsm2, metal1, [(37.305,-6.6),(37.305,-6),(37.55,-6),(37.55,-5.355),(37.78,-5.355),(37.78,-6),(37.78,-6.6)],
  [(8.15,-8.105),(8.15,-7.46),(8.15,-6.6),(8.625,-6.6),(8.625,-7.46),(8.38,-7.46),(8.38,-8.105)],
  [(8.15,-11.38),(8.15,-10.78),(8.15,-9.69),(8.38,-9.69),(8.38,-10.78),(8.625,-10.78),(8.625,-11.38)],
  [(37.55,-3.77),(37.55,-2.68),(37.305,-2.68),(37.305,-2.08),(37.78,-2.08),(37.78,-2.68),(37.78,-3.77)],
  [(37.55,-3.77),(37.55,-2.68),(37.305,-2.68),(37.305,-2.08),(37.78,-2.08),(37.78,-2.68),(37.78,-3.77)],
  [(37.55,-3.77),(37.55,-2.68),(37.305,-2.68),(37.305,-2.08),(37.78,-2.08),(37.78,-2.68),(37.78,-3.77)],
  [(37.55,-3.77),(37.55,-2.68),(37.305,-2.68),(37.305,-2.08),(37.78,-2.08),(37.78,-2.68),(37.78,-3.77)])
R(fsm2, metal2, [(12.945,-9.55,36.505,-9.15), (36.105,-9.15,36.505,-5.75), (16.195,-8.865,19.695,-8.465), (9.575,-8.34,9.975,-8.035), (9.575,-8.035,35.715,-7.635), (13.005,-7.635,13.405,-5.225), (16.525,-4.55,19.695,-4.15)])
R(fsm2, dualgate, [(7.565,-11.36,8.845,-6.58), (12.045,-6.58,17.085,-2.1), (37.085,-6.58,38.365,-2.1), (37.085,-6.58,38.365,-2.1), (37.085,-6.58,38.365,-2.1), (37.085,-6.58,38.365,-2.1)])
R(fsm2, v5_xtor, [(8.005,-11.08,8.565,-7.16), (37.365,-6.3,37.925,-2.38), (37.365,-6.3,37.925,-2.38), (37.365,-6.3,37.925,-2.38), (37.365,-6.3,37.925,-2.38)])
R(fsm2, lvpwell, [(7.415,-8.92,8.765,-6.73), (37.165,-6.73,38.515,-4.54), (37.165,-6.73,38.515,-4.54), (37.165,-6.73,38.515,-4.54), (37.165,-6.73,38.515,-4.54)])
fsm2.add(gdstk.Reference(and2, (-4.325,-12.995)))
fsm2.add(gdstk.Reference(dffrnq, (16.795,0.21)))
fsm2.add(gdstk.Reference(dffsnq, (16.11,-6.93)))
fsm2.add(gdstk.Reference(or2, (15.185,4.98)))
fsm2.add(gdstk.Reference(nor2, (2.635,-1.72)))
fsm2.add(gdstk.Reference(via_dev, (20.095,-4.55), rotation=pi/2))
fsm2.add(gdstk.Reference(via_dev, (16.525,-4.55), rotation=pi/2))
fsm2.add(gdstk.Reference(via_dev, (35.715,-8.11), rotation=pi/2))
fsm2.add(gdstk.Reference(via_dev, (13.405,-5.225), rotation=pi/2))
fsm2.add(gdstk.Reference(via_dev, (36.505,-5.75), rotation=pi/2))
fsm2.add(gdstk.Reference(via_dev, (9.575,-8.34), rotation=3*pi/2))
fsm2.add(gdstk.Reference(via_dev, (12.945,-9.15), rotation=3*pi/2))
fsm2.add(gdstk.Reference(via_dev, (20.095,-8.865), rotation=pi/2))
fsm2.add(gdstk.Reference(via_dev, (16.195,-8.865), rotation=pi/2))
fsm2.add(gdstk.Reference(tap2, (35.845,-11.51)))
fsm2.add(gdstk.Reference(tap, (10.775,-6.88)))

lib.write_gds('FSM2.gds')
